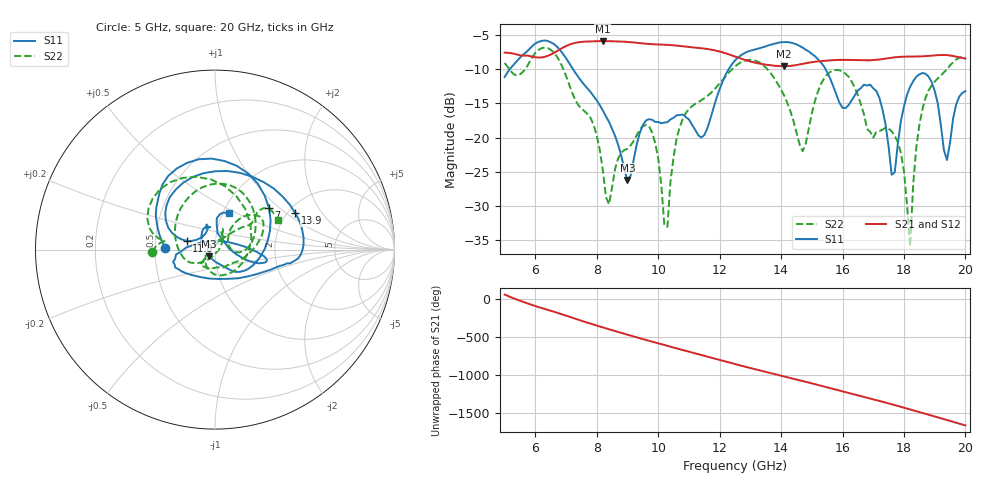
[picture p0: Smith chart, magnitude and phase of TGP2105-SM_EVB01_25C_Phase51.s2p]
! Date: Wednesday, June 05, 2013  1:52 PM
! Filename: C:\Data\Mike_Arnold\TGP2105-SM\Over_Temp\TGP2105-SM_EVB01_25C_Phase51.s2p
! Comments:
!^VDC(V):5.000
!^VDC(mA):0.044
!%Freq(GHz),S11(dB),S11(ang),S21(dB),S21(ang),S12(dB),S12(ang),S22(dB),S22(ang)
# GHz  S  DB  R  50
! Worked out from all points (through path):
!   151 points, 5 GHz to 20 GHz, reference 50 ohm
!   highest |S21| = -5.91 dB at 8.2 GHz (marker M1); lowest = -9.6 dB at 14.1 GHz (marker M2)
!   lowest |S11| = -26.2 dB at 9 GHz (marker M3), VSWR 1.10, Z = 46.7 - j3.4 ohm
!   |S11| at or under -10 dB: start of sweep to 5.173 GHz; 7.224 GHz to 12.3 GHz (5.072 GHz wide, 52 % of centre); 15.44 GHz to end of sweep
!   |S22| runs from -35.9 to -6.8 dB; largest |S21 - S12| = 0.0023
!   S11 on the Smith chart (normalised r, x): 5 GHz: 0.57, +0.01; 7 GHz: 1.58, +0.86; 11.8 GHz: 0.73, +0.07; 13.9 GHz: 2.19, +1.17; 20 GHz: 1.07, +0.46
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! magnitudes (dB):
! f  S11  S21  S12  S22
! 5 GHz  -11.2  -7.6  -7.6  -9.1
! 7 GHz  -8.4  -6.6  -6.7  -11.0
! 7.5 GHz  -11.8  -6.0  -6.1  -15.8
! 8.2 GHz  -16.1  -5.9  -5.9  -24.8
! 9 GHz  -26.2  -6.0  -6.1  -21.6
! 10 GHz  -17.7  -6.4  -6.4  -23.0
! 10.3 GHz  -17.8  -6.5  -6.5  -33.0
! 10.7 GHz  -16.7  -6.6  -6.6  -18.5
! 11.8 GHz  -15.7  -7.2  -7.2  -13.1
! 12.5 GHz  -8.7  -8.2  -8.2  -9.6
! 13.9 GHz  -6.2  -9.5  -9.6  -12.2
! 14.1 GHz  -6.1  -9.6  -9.6  -13.9
! 14.7 GHz  -6.9  -9.2  -9.3  -22.0
! 15 GHz  -7.8  -9.0  -9.0  -16.5
! 15.9 GHz  -14.9  -8.7  -8.7  -10.2
! 16.9 GHz  -12.3  -8.7  -8.7  -19.1
! 17.5 GHz  -21.3  -8.4  -8.4  -18.7
! 17.9 GHz  -17.6  -8.2  -8.2  -22.2
! 18.2 GHz  -12.6  -8.2  -8.2  -35.9
! 18.7 GHz  -10.7  -8.1  -8.1  -14.2
! 19.4 GHz  -23.3  -8.0  -8.0  -10.1
! 20 GHz  -13.2  -8.5  -8.5  -8.2
